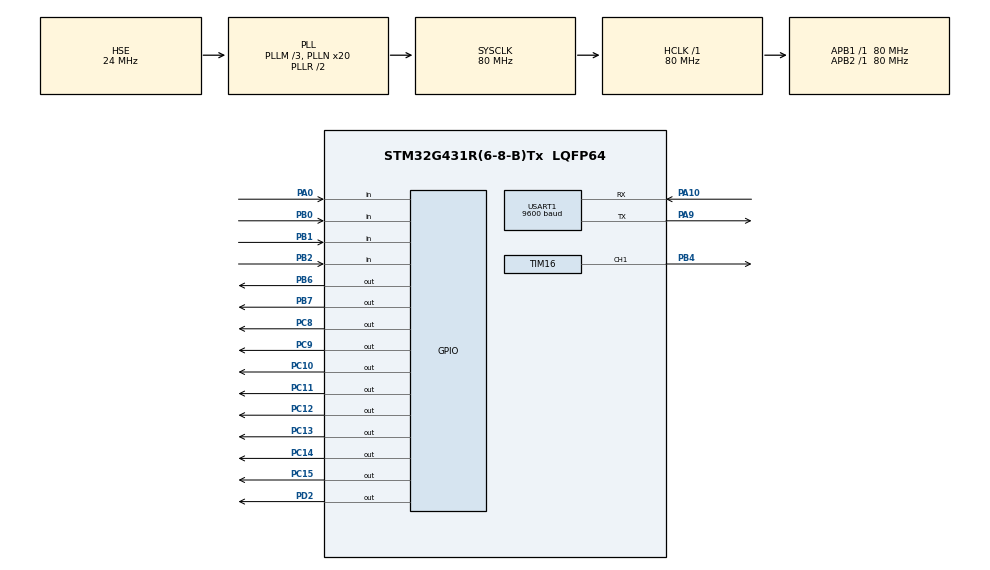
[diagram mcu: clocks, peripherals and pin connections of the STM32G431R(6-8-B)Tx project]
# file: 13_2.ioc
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Mcu.Family=STM32G4
Mcu.Name=STM32G431R(6-8-B)Tx
Mcu.Package=LQFP64
NVIC.PriorityGroup=NVIC_PRIORITYGROUP_4
NVIC.TIM3_IRQn=true\:0\:0\:true\:false\:true\:true\:true
NVIC.TIM4_IRQn=true\:0\:0\:false\:false\:true\:true\:true
NVIC.USART1_IRQn=true\:0\:0\:false\:false\:true\:true\:true
PA0.GPIO_PuPd=GPIO_PULLUP
PA0.Signal=GPIO_Input
PA10.Mode=Asynchronous
PA10.Signal=USART1_RX
PA13.Mode=Serial_Wire
PA13.Signal=SYS_JTMS-SWDIO
PA14.Mode=Serial_Wire
PA14.Signal=SYS_JTCK-SWCLK
PA9.Mode=Asynchronous
PA9.Signal=USART1_TX
PB0.GPIO_PuPd=GPIO_PULLUP
PB0.Signal=GPIO_Input
PB1.GPIO_PuPd=GPIO_PULLUP
PB1.Signal=GPIO_Input
PB2.GPIO_PuPd=GPIO_PULLUP
PB2.Signal=GPIO_Input
PB4.Signal=S_TIM16_CH1
PB6.Signal=GPIO_Output
PB7.Signal=GPIO_Output
PC10.Signal=GPIO_Output
PC11.Signal=GPIO_Output
PC12.Signal=GPIO_Output
PC13.Signal=GPIO_Output
PC14-OSC32_IN.Signal=GPIO_Output
PC15-OSC32_OUT.Signal=GPIO_Output
PC8.Signal=GPIO_Output
PC9.Signal=GPIO_Output
PD2.Signal=GPIO_Output
PF0-OSC_IN.Mode=HSE-External-Oscillator
PF0-OSC_IN.Signal=RCC_OSC_IN
PF1-OSC_OUT.Mode=HSE-External-Oscillator
PF1-OSC_OUT.Signal=RCC_OSC_OUT
ProjectManager.HeapSize=0x200
ProjectManager.StackSize=0x400
ProjectManager.TargetToolchain=MDK-ARM V5
RCC.ADC12Freq_Value=80000000
RCC.AHBFreq_Value=80000000
RCC.APB1Freq_Value=80000000
RCC.APB1TimFreq_Value=80000000
RCC.APB2Freq_Value=80000000
RCC.APB2TimFreq_Value=80000000
RCC.CortexFreq_Value=80000000
RCC.EXTERNAL_CLOCK_VALUE=12288000
RCC.HCLKFreq_Value=80000000
RCC.HSE_VALUE=24000000
RCC.HSI48_VALUE=48000000
RCC.HSI_VALUE=16000000
RCC.LSE_VALUE=32768
RCC.PLLM=RCC_PLLM_DIV3
RCC.PLLN=20
RCC.PLLSourceVirtual=RCC_PLLSOURCE_HSE
RCC.SYSCLKFreq_VALUE=80000000
RCC.SYSCLKSource=RCC_SYSCLKSOURCE_PLLCLK
RCC.USBFreq_Value=80000000
RCC.VCOOutputFreq_Value=160000000
SH.S_TIM16_CH1.0=TIM16_CH1,PWM Generation1 CH1
TIM16.Channel=TIM_CHANNEL_1
TIM16.PeriodNoDither=1000-1
TIM16.Prescaler=40-1
TIM16.PulseNoDither_1=50
TIM3.PeriodNoDither=10000-1
TIM3.Prescaler=800-1
TIM4.PeriodNoDither=10000-1
TIM4.Prescaler=800-1
USART1.BaudRate=9600
USART1.VirtualMode-Asynchronous=VM_ASYNC
USART1.WordLength=WORDLENGTH_8B
VP_SYS_VS_DBSignals.Mode=DisableDeadBatterySignals
VP_TIM16_VS_ClockSourceINT.Mode=Enable_Timer
VP_TIM3_VS_ClockSourceINT.Mode=Internal
VP_TIM4_VS_ClockSourceINT.Mode=Internal
board=custom

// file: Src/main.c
/* USER CODE BEGIN Header */
/**
  ******************************************************************************
  * @file           : main.c
  * @brief          : Main program body
  ******************************************************************************
  * @attention
  *
  * <h2><center>&copy; Copyright (c) 2024 STMicroelectronics.
  * All rights reserved.</center></h2>
  *
  * This software component is licensed by ST under BSD 3-Clause license,
  * the "License"; You may not use this file except in compliance with the
  * License. You may obtain a copy of the License at:
  *                        opensource.org/licenses/BSD-3-Clause
  *
  ******************************************************************************
  */
/* USER CODE END Header */

#include "main.h"
#include "tim.h"
#include "usart.h"
#include "gpio.h"

/* USER CODE BEGIN Includes */
#include "key.h"
#include "led.h"
#include "myfile.h"
#include "i2c_hal.h"

/* USER CODE END Includes */

/* USER CODE BEGIN PV */

//LCD显示界面的记录
//0--商品购买界面		1--商品价格界面		2--库存信息界面
uint8_t menu=0;

//记录各类商品的购买数量
uint8_t buy_x_count=0;
uint8_t buy_y_count=0;

//记录各类商品的价格
float x_price;
float y_price;

//记录各类商品的库存量
uint8_t stock_x;
uint8_t stock_y;

//定时器定时计数
uint16_t time_count;

//pwm输出的频率，占空比
uint16_t freq=2000;
uint8_t duty=5;

//记录LED2亮灭状态
uint8_t led2_sta=0;

//标记库存是否为空
uint8_t is_enputy=0;

//串口接收发送缓冲区
char RXbuff[30],TXbuff[30];
unsigned char Rxdat,BufIndex;

/* USER CODE END PV */

void SystemClock_Config(void);

int main(void)
{

  /* MCU Configuration--------------------------------------------------------*/

  /* Reset of all peripherals, Initializes the Flash interface and the Systick. */
  HAL_Init();

  /* Configure the system clock */
  SystemClock_Config();

  /* Initialize all configured peripherals */
  MX_GPIO_Init();
  MX_TIM4_Init();
  MX_TIM3_Init();
  MX_TIM16_Init();
  MX_USART1_UART_Init();
  /* USER CODE BEGIN 2 */
	Sys_init();
  /* USER CODE END 2 */

  /* Infinite loop */
  while (1)
  {

    /* USER CODE BEGIN 3 */
		Sys_work();
  }
  /* USER CODE END 3 */
}

void SystemClock_Config(void)
{
  RCC_OscInitTypeDef RCC_OscInitStruct = {0};
  RCC_ClkInitTypeDef RCC_ClkInitStruct = {0};
  RCC_PeriphCLKInitTypeDef PeriphClkInit = {0};

  /** Configure the main internal regulator output voltage
  */
  HAL_PWREx_ControlVoltageScaling(PWR_REGULATOR_VOLTAGE_SCALE1);
  /** Initializes the CPU, AHB and APB busses clocks
  */
  RCC_OscInitStruct.OscillatorType = RCC_OSCILLATORTYPE_HSE;
  RCC_OscInitStruct.HSEState = RCC_HSE_ON;
  RCC_OscInitStruct.PLL.PLLState = RCC_PLL_ON;
  RCC_OscInitStruct.PLL.PLLSource = RCC_PLLSOURCE_HSE;
  RCC_OscInitStruct.PLL.PLLM = RCC_PLLM_DIV3;
  RCC_OscInitStruct.PLL.PLLN = 20;
  RCC_OscInitStruct.PLL.PLLP = RCC_PLLP_DIV2;
  RCC_OscInitStruct.PLL.PLLQ = RCC_PLLQ_DIV2;
  RCC_OscInitStruct.PLL.PLLR = RCC_PLLR_DIV2;
  if (HAL_RCC_OscConfig(&RCC_OscInitStruct) != HAL_OK)
  {
    Error_Handler();
  }
  /** Initializes the CPU, AHB and APB busses clocks
  */
  RCC_ClkInitStruct.ClockType = RCC_CLOCKTYPE_HCLK|RCC_CLOCKTYPE_SYSCLK
                              |RCC_CLOCKTYPE_PCLK1|RCC_CLOCKTYPE_PCLK2;
  RCC_ClkInitStruct.SYSCLKSource = RCC_SYSCLKSOURCE_PLLCLK;
  RCC_ClkInitStruct.AHBCLKDivider = RCC_SYSCLK_DIV1;
  RCC_ClkInitStruct.APB1CLKDivider = RCC_HCLK_DIV1;
  RCC_ClkInitStruct.APB2CLKDivider = RCC_HCLK_DIV1;

  if (HAL_RCC_ClockConfig(&RCC_ClkInitStruct, FLASH_LATENCY_3) != HAL_OK)
  {
    Error_Handler();
  }
  /** Initializes the peripherals clocks
  */
  PeriphClkInit.PeriphClockSelection = RCC_PERIPHCLK_USART1;
  PeriphClkInit.Usart1ClockSelection = RCC_USART1CLKSOURCE_PCLK2;
  if (HAL_RCCEx_PeriphCLKConfig(&PeriphClkInit) != HAL_OK)
  {
    Error_Handler();
  }
}

void Error_Handler(void)
{
}

/************************ (C) COPYRIGHT STMicroelectronics *****END OF FILE****/
